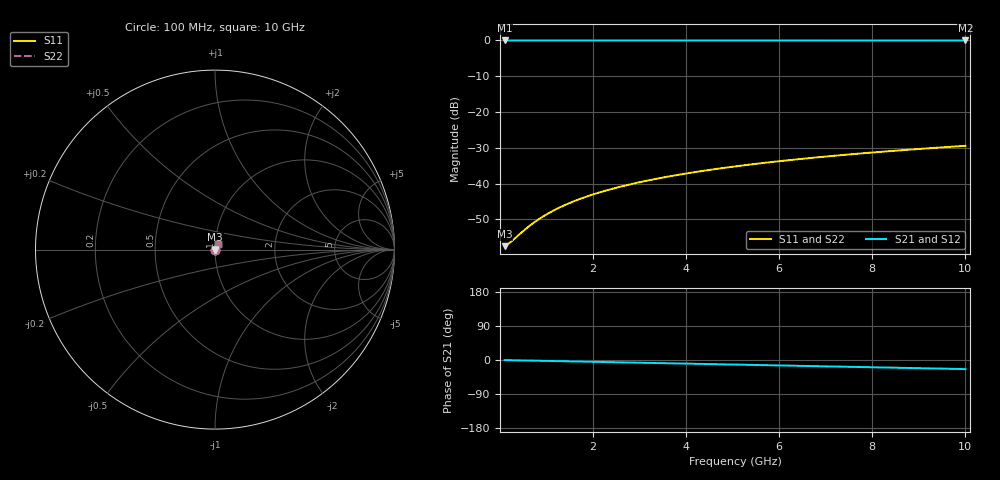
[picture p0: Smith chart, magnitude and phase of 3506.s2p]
# Hz S RI R 50.00
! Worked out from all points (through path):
!   100 points, 100 MHz to 10 GHz, reference 50 ohm
!   highest |S21| = -0.01 dB at 100 MHz (marker M1); lowest = 0.0 dB at 10 GHz (marker M2)
!   group delay of S21, straight-line fit = 6.67 ps
!   lowest |S11| = -57.5 dB at 100 MHz (marker M3), VSWR 1.00, Z = 50.1 + j0.0342 ohm
!   |S11| at or under -10 dB: start of sweep to end of sweep
!   |S22| runs from -57.5 to -29.5 dB; largest |S21 - S12| = 0
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1e8  0.00129 0.000341  0.9987 -0.00416  0.9987 -0.00416  0.00129 0.000341
2e8  0.0013 0.000682  0.9987 -0.00831  0.9987 -0.00831  0.0013 0.000682
6e8  0.00136 0.00204  0.9984 -0.0249  0.9984 -0.0249  0.00136 0.00204
7e8  0.00138 0.00239  0.9982 -0.0291  0.9982 -0.0291  0.00138 0.00239
9e8  0.00143 0.00306  0.998 -0.0374  0.998 -0.0374  0.00143 0.00306
1.1e9  0.00149 0.00374  0.9976 -0.0457  0.9976 -0.0457  0.00149 0.00374
1.3e9  0.00156 0.00442  0.9972 -0.054  0.9972 -0.054  0.00156 0.00442
1.5e9  0.00164 0.0051  0.9967 -0.0623  0.9967 -0.0623  0.00164 0.0051
1.8e9  0.00178 0.0061  0.9958 -0.0748  0.9958 -0.0748  0.00178 0.0061
2.1e9  0.00194 0.00711  0.9948 -0.0872  0.9948 -0.0872  0.00194 0.00711
2.5e9  0.00221 0.00844  0.9931 -0.1038  0.9931 -0.1038  0.00221 0.00844
2.9e9  0.00251 0.00976  0.9912 -0.1203  0.9912 -0.1203  0.00251 0.00976
3.4e9  0.00295 0.0114  0.9885 -0.141  0.9885 -0.141  0.00295 0.0114
3.8e9  0.00336 0.0127  0.986 -0.1575  0.986 -0.1575  0.00336 0.0127
4.2e9  0.0038 0.014  0.9832 -0.174  0.9832 -0.174  0.0038 0.014
4.6e9  0.00429 0.0152  0.9801 -0.1904  0.9801 -0.1904  0.00429 0.0152
5.1e9  0.00496 0.0168  0.9758 -0.2108  0.9758 -0.2108  0.00496 0.0168
5.9e9  0.00617 0.0192  0.9681 -0.2434  0.9681 -0.2434  0.00617 0.0192
6.7e9  0.00754 0.0216  0.9593 -0.2758  0.9593 -0.2758  0.00754 0.0216
7.5e9  0.00907 0.0238  0.9494 -0.3078  0.9494 -0.3078  0.00907 0.0238
8.4e9  0.011 0.0262  0.937 -0.3435  0.937 -0.3435  0.011 0.0262
1e10  0.0148 0.0302  0.9115 -0.4059  0.9115 -0.4059  0.0148 0.0302
